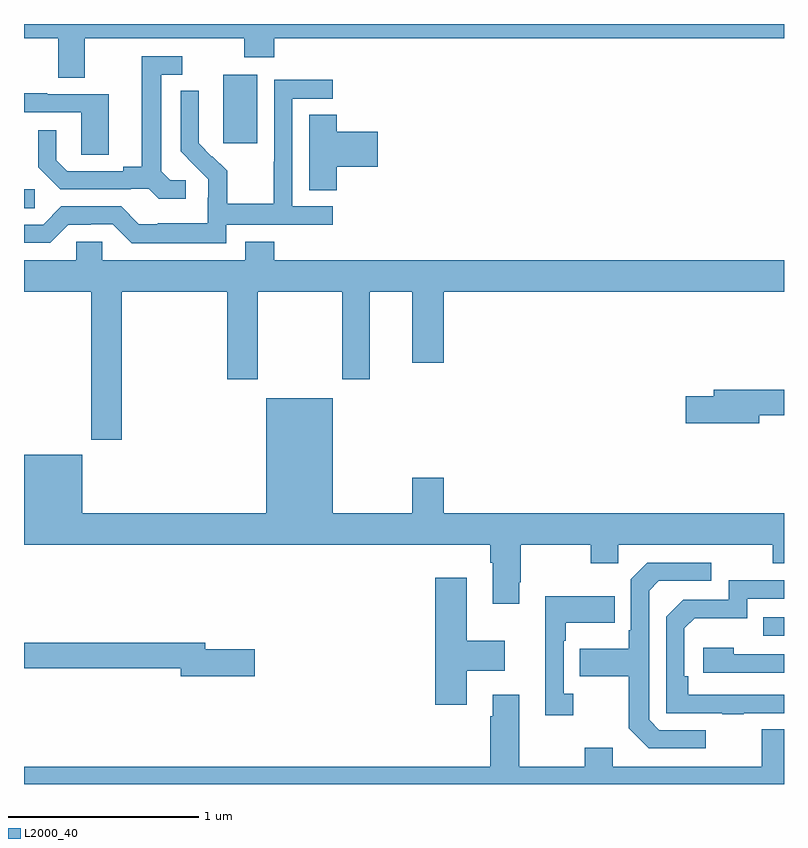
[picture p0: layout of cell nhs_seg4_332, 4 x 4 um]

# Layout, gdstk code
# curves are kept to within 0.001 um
import gdstk
lib = gdstk.Library(unit=1e-6, precision=1e-09)
def R(c, l, rs):  # rectangles x0, y0, x1, y1
    for r in rs: c.add(gdstk.rectangle(r[:2], r[2:], *l))
def P(c, l, *ps):  # polygons
    for p in ps: c.add(gdstk.Polygon(p, *l))
L2000_40 = (2000, 40)

nhs_seg4_332 = lib.new_cell('nhs_seg4_332')
R(nhs_seg4_332, L2000_40, [(130.891,789.681,131,789.777), (127,791.929,127.057,792.03), (128.048,792.273,128.227,792.634)])
P(nhs_seg4_332, L2000_40, [(127.321,792.824),(128.158,792.824),(128.158,792.725),(128.318,792.725),(128.318,792.824),(131,792.824),(131,792.9),(127,792.9),(127,792.824),(127.181,792.824),(127.181,792.616),(127.321,792.616)],
  [(127.852,792.078),(127.77,792.078),(127.723,792.125),(127.723,792.633),(127.834,792.633),(127.834,792.729),(127.619,792.729),(127.619,792.149),(127.523,792.149),(127.523,792.126),(127.228,792.126),(127.171,792.183),(127.171,792.34),(127.074,792.34),(127.074,792.146),(127.19,792.03),(127.562,792.03),(127.562,792.033),(127.656,792.033),(127.708,791.981),(127.852,791.981)],
  [(128.064,791.844),(128.626,791.844),(128.626,791.94),(128.412,791.94),(128.412,792.507),(128.626,792.507),(128.626,792.606),(128.316,792.606),(128.316,792.176),(128.314,792.176),(128.314,791.953),(128.069,791.953),(128.069,792.127),(127.992,792.204),(127.989,792.201),(127.919,792.272),(127.92,792.548),(127.824,792.548),(127.824,792.23),(127.97,792.082),(127.97,791.985),(127.968,791.985),(127.968,791.851),(127.705,791.851),(127.705,791.847),(127.605,791.847),(127.512,791.94),(127.197,791.94),(127.101,791.844),(127,791.844),(127,791.748),(127.137,791.748),(127.233,791.844),(127.352,791.844),(127.352,791.847),(127.467,791.847),(127.567,791.747),(128.064,791.747)],
  [(127.447,792.531),(127.123,792.531),(127.123,792.535),(127,792.535),(127,792.435),(127.302,792.435),(127.302,792.211),(127.447,792.211)],
  [(128.645,792.149),(128.863,792.149),(128.863,792.332),(128.645,792.332),(128.645,792.422),(128.501,792.422),(128.501,792.025),(128.645,792.025)],
  [(127.514,791.492),(128.069,791.492),(128.069,791.031),(128.229,791.031),(128.229,791.492),(128.674,791.492),(128.674,791.031),(128.821,791.031),(128.821,791.492),(129.044,791.492),(129.044,791.118),(129.208,791.118),(129.208,791.492),(131,791.492),(131,791.656),(128.318,791.656),(128.318,791.755),(128.165,791.755),(128.165,791.656),(127.413,791.656),(127.413,791.754),(127.275,791.754),(127.275,791.656),(127,791.656),(127,791.492),(127.354,791.492),(127.354,790.713),(127.514,790.713)],
  [(130.87,790.84),(131,790.84),(131,790.976),(130.631,790.976),(130.631,790.94),(130.482,790.94),(130.482,790.798),(130.87,790.798)],
  [(129.607,789.961),(129.614,789.961),(129.614,790.16),(129.982,790.16),(129.982,790.061),(130.128,790.061),(130.128,790.16),(130.942,790.16),(130.942,790.061),(131,790.061),(131,790.324),(129.208,790.324),(129.208,790.513),(129.044,790.513),(129.044,790.324),(128.626,790.324),(128.626,790.93),(128.276,790.93),(128.276,790.324),(127.306,790.324),(127.306,790.633),(127,790.633),(127,790.16),(129.455,790.16),(129.455,790.064),(129.467,790.064),(129.467,789.849),(129.607,789.849)],
  [(130.588,789.183),(130.344,789.183),(130.29,789.237),(130.29,789.918),(130.341,789.969),(130.618,789.969),(130.618,790.065),(130.281,790.065),(130.194,789.978),(130.194,789.709),(130.182,789.709),(130.182,789.613),(129.925,789.613),(129.925,789.466),(130.182,789.466),(130.182,789.193),(130.287,789.087),(130.588,789.087)],
  [(129.331,789.497),(129.529,789.497),(129.529,789.655),(129.331,789.655),(129.331,789.985),(129.164,789.985),(129.164,789.318),(129.331,789.318)],
  [(130.787,789.273),(131,789.273),(131,789.369),(130.496,789.369),(130.496,789.466),(130.476,789.466),(130.476,789.72),(130.529,789.773),(130.806,789.773),(130.806,789.876),(131,789.876),(131,789.972),(130.71,789.972),(130.71,789.87),(130.47,789.87),(130.38,789.78),(130.38,789.273),(130.675,789.273),(130.675,789.268),(130.787,789.268)],
  [(129.892,789.374),(129.84,789.374),(129.84,789.653),(129.852,789.653),(129.852,789.749),(130.109,789.749),(130.109,789.889),(129.743,789.889),(129.743,789.261),(129.892,789.261)],
  [(128.215,789.608),(127.954,789.608),(127.954,789.644),(127,789.644),(127,789.508),(127.826,789.508),(127.826,789.466),(128.215,789.466)],
  [(131,789.582),(130.736,789.582),(130.736,789.616),(130.575,789.616),(130.575,789.486),(131,789.486)],
  [(131,789.187),(130.883,789.187),(130.883,788.992),(130.099,788.992),(130.099,789.091),(129.952,789.091),(129.952,788.992),(129.607,788.992),(129.607,789.37),(129.467,789.37),(129.467,789.257),(129.455,789.257),(129.455,788.992),(127,788.992),(127,788.9),(131,788.9)])

lib.write_gds('nhs_seg4_332.gds')
